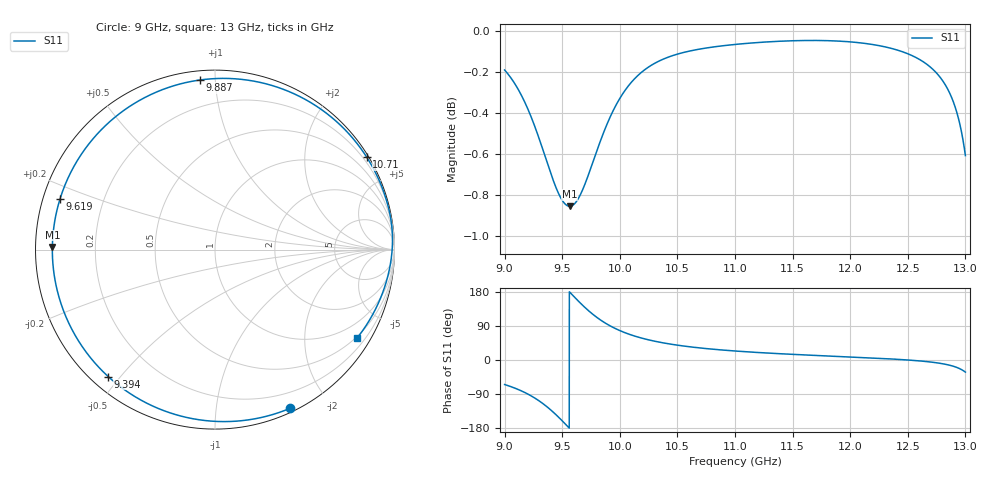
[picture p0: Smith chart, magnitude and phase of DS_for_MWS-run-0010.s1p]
! TOUCHSTONE file generated by CST DESIGN STUDIO
! Date and time: Tue Feb  4 16:43:57 2025
! Project name: C:\Work\MatlabApps\UnitCellOptimizationMatlab\CST\unitcell.cst
! Tree item: Tasks\Sweep1\SPara1\S-Parameters
! Header version: 2024
! Port assignment regex: !\s*Touchstone port\s*([0-9]+)\s*=\s*(CST MWS port|CST DES external port|CST DES block port)\s*(.+)\s* \(\"(.*)\"\)(\s*mode\s*([0-9]+))?.*
! Touchstone port assignment:
! Touchstone port 1 = CST DES external port 1 ("")
# GHz S MA R 50
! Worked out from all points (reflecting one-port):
!   4001 points, 9 GHz to 13 GHz, reference 50 ohm
!   lowest |S11| = -0.9 dB at 9.565 GHz (marker M1), VSWR 20.34, Z = 2.46 + j0.421 ohm
!   phase of S11 starts at -65 deg and turns -327 deg over the sweep
!   S11 on the Smith chart (normalised r, x): 9 GHz: 0.04, -1.58; 9.394 GHz: 0.05, -0.46; 9.619 GHz: 0.05, +0.16; 9.887 GHz: 0.05, +0.91; 10.71 GHz: 0.07, +3.57; 13 GHz: 0.45, -3.43
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9  0.9782 -64.7
9.048  0.9744 -69.6
9.117  0.9677 -77.7
9.237  0.9518 -95.8
9.32  0.9377 -112.3
9.394  0.9243 -130.1
9.445  0.916 -144.1
9.5  0.9093 -160.5
9.565  0.9063 179.0
9.619  0.9084 162.0
9.686  0.916 141.8
9.749  0.926 124.8
9.814  0.9371 109.5
9.887  0.9486 95.1
10  0.9627 77.6
10.102  0.9716 65.8
10.216  0.9783 55.7
10.346  0.9832 46.9
10.5  0.9869 39.1
10.711  0.9899 31.3
11  0.9922 23.8
11.5  0.9943 14.9
12  0.9937 8.0
12.5  0.9871 0.0
12.683  0.9804 -4.8
12.817  0.9709 -10.7
12.913  0.9577 -18.2
13  0.9324 -32.0
